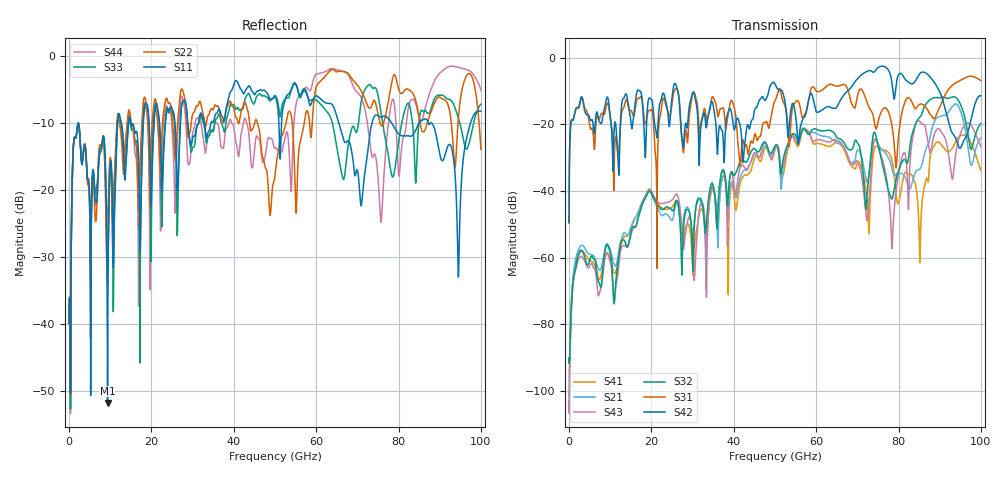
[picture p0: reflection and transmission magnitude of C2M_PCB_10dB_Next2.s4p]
! Info: Touchstone file created by Circ.  Input file=Intel_C2M_200G_0p5in_202204012_staggered.circ
# Hz S RI R 50
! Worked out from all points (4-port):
!   10000 points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, 10 MHz to 100 GHz, reference 50 ohm
!   strongest paths, dB at 10 MHz, 25.01 GHz, 50.01 GHz, 75.01 GHz, 100 GHz:
!     S42: -49.4, -11.8, -7.9, -3.0, -11.5
!     S31: -49.6, -13.7, -12.9, -19.4, -6.9
!     S32: -90.6, -45.8, -26.5, -26.0, -19.7
!     S43: -103.2, -42.7, -27.1, -26.3, -26.7
!     S21: -100.9, -48.9, -26.6, -25.8, -24.0
!     S41: -101.7, -44.8, -27.6, -26.9, -33.9
!   lowest |S11| = -51.9 dB at 9.34 GHz (marker M1), VSWR 1.01, Z = 50.1 + j0.246 ohm
!   |S11| at or under -10 dB: 2.264 GHz to 11.73 GHz (9.466 GHz wide, 135 % of centre); 65.5 GHz to 73.54 GHz (8.037 GHz wide, 11.6 % of centre); 88.11 GHz to 97.47 GHz (9.366 GHz wide, 10.1 % of centre) (the widest 3 of 14)
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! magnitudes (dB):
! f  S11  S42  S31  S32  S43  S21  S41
! 10 MHz  -39.9  -49.4  -49.6  -90.6  -103.2  -100.9  -101.7
! 2 GHz  -10.6  -14.9  -15.1  -60.5  -61.7  -58.5  -60.0
! 9.34 GHz  -51.9  -11.9  -13.6  -56.1  -58.7  -56.5  -58.9
! 57.09 GHz  -4.8  -17.9  -17.2  -21.2  -21.3  -21.5  -21.7
! 78.44 GHz  -10.1  -7.9  -20.6  -42.3  -57.1  -33.3  -31.0
! 84.57 GHz  -10.5  -6.0  -14.7  -18.8  -19.0  -33.8  -42.2
! 100 GHz  -8.2  -11.5  -6.9  -19.7  -26.7  -24.0  -33.9
